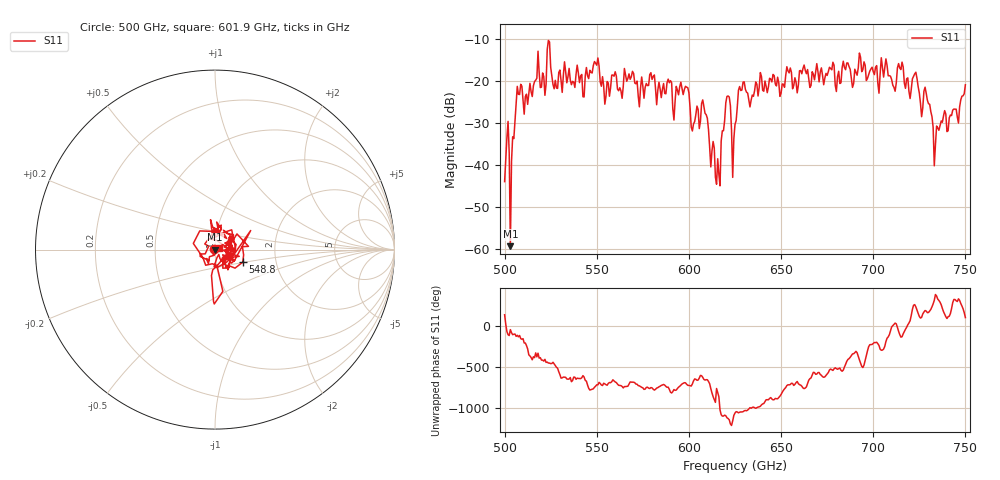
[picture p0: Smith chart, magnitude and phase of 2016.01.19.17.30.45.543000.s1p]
!Created with skrf (http://scikit-rf.org).
# GHz S RI R 50.0
!freq ReS11 ImS11
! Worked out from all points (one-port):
!   401 points, 500 GHz to 750 GHz, reference 50 ohm
!   lowest |S11| = -59.4 dB at 503.1 GHz (marker M1), VSWR 1.00, Z = 50.1 - j0.0786 ohm
!   |S11| at or under -10 dB: start of sweep to end of sweep
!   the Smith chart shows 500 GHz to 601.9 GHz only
!   S11 on the Smith chart (normalised r, x): 500 GHz: 0.99, +0.01; 548.8 GHz: 1.35, -0.19; 601.9 GHz: 1.05, +0.02
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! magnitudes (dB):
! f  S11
! 500 GHz  -44.0
! 501.2 GHz  -33.5
! 503.1 GHz  -59.4
! 508.1 GHz  -23.3
! 521.2 GHz  -19.0
! 524.4 GHz  -10.8
! 527.5 GHz  -19.9
! 531.2 GHz  -22.8
! 548.8 GHz  -15.4
! 562.5 GHz  -21.6
! 568.8 GHz  -19.0
! 593.8 GHz  -22.2
! 598.8 GHz  -21.5
! 601.9 GHz  -31.9
! 608.1 GHz  -26.1
! 615.6 GHz  -38.6
! 621.2 GHz  -23.6
! 625 GHz  -30.4
! 628.8 GHz  -22.2
! 656.2 GHz  -21.9
! 687.5 GHz  -17.3
! 705.6 GHz  -19.1
! 711.2 GHz  -21.6
! 715 GHz  -17.3
! 718.8 GHz  -19.3
! 728.8 GHz  -23.0
! 734.4 GHz  -30.8
! 750 GHz  -20.9
